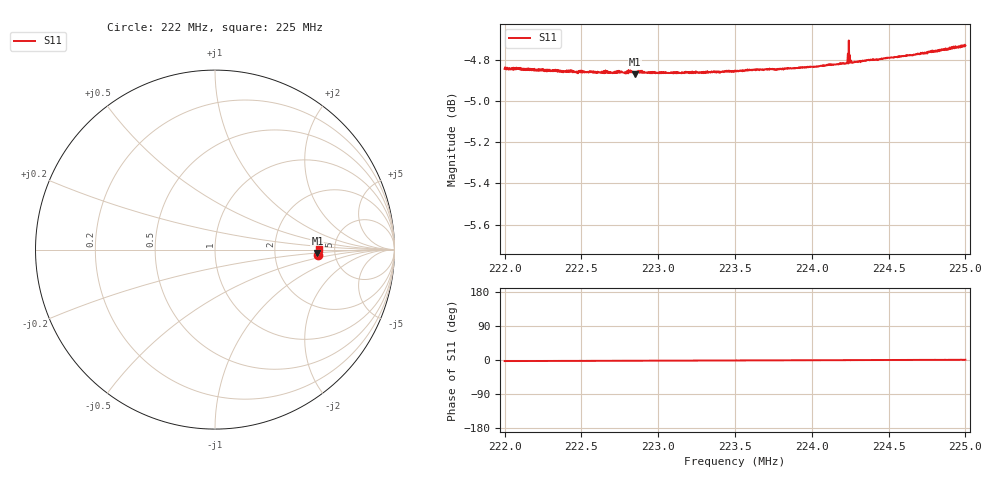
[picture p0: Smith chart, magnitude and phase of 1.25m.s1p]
! Calibrated averaged scanner-service zoom
# Hz S RI R 50
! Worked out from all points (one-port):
!   1001 points, 222 MHz to 225 MHz, reference 50 ohm
!   lowest |S11| = -4.9 dB at 222.85 MHz (marker M1), VSWR 3.66, Z = 182 - j10.1 ohm
!   |S11| at or under -10 dB: nowhere
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2.22e8  0.5719 -0.028
2.22093e8  0.572 -0.0274
2.22375e8  0.5714 -0.0249
2.22702e8  0.5708 -0.0208
2.2275e8  0.5714 -0.0206
2.22846e8  0.5706 -0.0187
2.22879e8  0.571 -0.019
2.23125e8  0.5713 -0.0166
2.235e8  0.5717 -0.0116
2.23704e8  0.5725 -0.00975
2.23746e8  0.5724 -0.00864
2.23875e8  0.5728 -0.00742
2.24214e8  0.5742 -0.00305
2.24223e8  0.5744 -0.00307
2.24226e8  0.5744 -0.00296
2.24232e8  0.5749 -0.00333
2.24241e8  0.5818 -0.00348
2.2425e8  0.5746 -0.00243
2.24256e8  0.575 -0.00358
2.24259e8  0.5748 -0.00242
2.24268e8  0.5747 -0.00293
2.24277e8  0.5747 -0.00241
2.24625e8  0.577 0.00137
2.24724e8  0.5777 0.00305
2.24754e8  0.5777 0.00258
2.24799e8  0.5784 0.00401
2.24967e8  0.5795 0.00491
2.25e8  0.5801 0.00606
